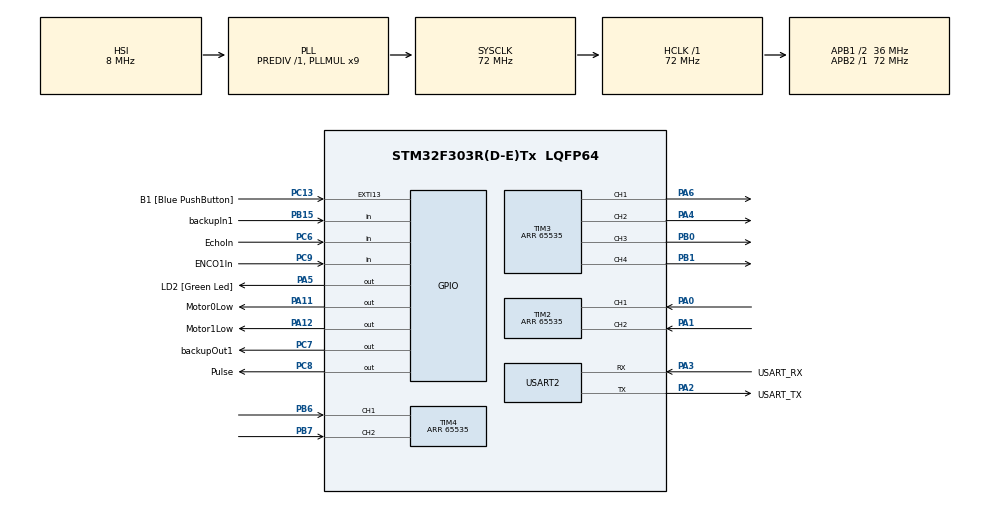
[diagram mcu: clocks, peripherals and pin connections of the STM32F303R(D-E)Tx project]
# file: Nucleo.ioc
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FREERTOS.Tasks01=defaultTask,0,128,StartDefaultTask,Default,NULL,Dynamic,NULL,NULL;motor0Task,-3,128,motor0Loop,Default,NULL,Dynamic,NULL,NULL;motor1Task,-3,128,motor1Loop,Default,NULL,Dynamic,NULL,NULL;controlTask,-3,128,controlLoop,Default,NULL,Dynamic,NULL,NULL;VzdTask,-3,128,VzdLoop,Default,NULL,Dynamic,NULL,NULL;backupTask1,-3,128,backupLoop1,Default,NULL,Dynamic,NULL,NULL;EncoTask,-3,128,EncoLoop,Default,NULL,Dynamic,NULL,NULL
FREERTOS.configTICK_RATE_HZ=100
FREERTOS.configTOTAL_HEAP_SIZE=6240
Mcu.Family=STM32F3
Mcu.Name=STM32F303R(D-E)Tx
Mcu.Package=LQFP64
NVIC.PriorityGroup=NVIC_PRIORITYGROUP_4
NVIC.TIM1_UP_TIM16_IRQn=true\:5\:0\:false\:false\:true\:true\:false\:true
NVIC.TimeBase=TIM1_UP_TIM16_IRQn
NVIC.TimeBaseIP=TIM1
PA0.GPIO_PuPd=GPIO_PULLUP
PA0.Signal=S_TIM2_CH1_ETR
PA1.GPIO_PuPd=GPIO_PULLUP
PA1.Signal=S_TIM2_CH2
PA11.GPIO_Label=Motor0Low
PA11.GPIO_PuPd=GPIO_PULLDOWN
PA11.GPIO_Speed=GPIO_SPEED_FREQ_HIGH
PA11.Signal=GPIO_Output
PA12.GPIO_Label=Motor1Low
PA12.GPIO_PuPd=GPIO_PULLDOWN
PA12.GPIO_Speed=GPIO_SPEED_FREQ_HIGH
PA12.PinState=GPIO_PIN_RESET
PA12.Signal=GPIO_Output
PA13.GPIO_Label=TMS
PA13.Mode=Serial_Wire
PA13.Signal=SYS_JTMS-SWDIO
PA14.GPIO_Label=TCK
PA14.Mode=Serial_Wire
PA14.Signal=SYS_JTCK-SWCLK
PA2.GPIO_Label=USART_TX
PA2.GPIO_Mode=GPIO_MODE_AF_PP
PA2.GPIO_PuPd=GPIO_NOPULL
PA2.GPIO_Speed=GPIO_SPEED_FREQ_LOW
PA2.Mode=Asynchronous
PA2.Signal=USART2_TX
PA3.GPIO_Label=USART_RX
PA3.GPIO_Mode=GPIO_MODE_AF_PP
PA3.GPIO_PuPd=GPIO_NOPULL
PA3.GPIO_Speed=GPIO_SPEED_FREQ_LOW
PA3.Mode=Asynchronous
PA3.Signal=USART2_RX
PA4.GPIO_Speed=GPIO_SPEED_FREQ_HIGH
PA4.Signal=S_TIM3_CH2
PA5.GPIO_Label=LD2 [Green Led]
PA5.GPIO_Mode=GPIO_MODE_OUTPUT_PP
PA5.GPIO_PuPd=GPIO_NOPULL
PA5.GPIO_Speed=GPIO_SPEED_FREQ_LOW
PA5.Signal=GPIO_Output
PA6.GPIO_Speed=GPIO_SPEED_FREQ_HIGH
PA6.Signal=S_TIM3_CH1
PB0.Signal=S_TIM3_CH3
PB1.Signal=S_TIM3_CH4
PB15.GPIO_Label=backupIn1
PB15.GPIO_PuPd=GPIO_PULLDOWN
PB15.Signal=GPIO_Input
PB3.GPIO_Label=SWO
PB3.Signal=SYS_JTDO-TRACESWO
PB6.GPIO_PuPd=GPIO_PULLUP
PB6.Signal=S_TIM4_CH1
PB7.GPIO_PuPd=GPIO_PULLUP
PB7.Signal=S_TIM4_CH2
PC13.GPIO_Label=B1 [Blue PushButton]
PC13.GPIO_ModeDefaultEXTI=GPIO_MODE_IT_FALLING
PC13.Signal=GPXTI13
PC14-OSC32_IN.Mode=LSE-External-Oscillator
PC14-OSC32_IN.Signal=RCC_OSC32_IN
PC15-OSC32_OUT.Mode=LSE-External-Oscillator
PC15-OSC32_OUT.Signal=RCC_OSC32_OUT
PC6.GPIO_Label=EchoIn
PC6.GPIO_PuPd=GPIO_PULLDOWN
PC6.Signal=GPIO_Input
PC7.GPIO_Label=backupOut1
PC7.GPIO_PuPd=GPIO_PULLDOWN
PC7.GPIO_Speed=GPIO_SPEED_FREQ_HIGH
PC7.Signal=GPIO_Output
PC8.GPIO_Label=Pulse
PC8.GPIO_PuPd=GPIO_PULLDOWN
PC8.GPIO_Speed=GPIO_SPEED_FREQ_HIGH
PC8.Signal=GPIO_Output
PC9.GPIO_Label=ENCO1In
PC9.GPIO_PuPd=GPIO_PULLDOWN
PC9.Signal=GPIO_Input
PF0-OSC_IN.Mode=HSE-External-Clock-Source
PF0-OSC_IN.Signal=RCC_OSC_IN
PF1-OSC_OUT.Signal=RCC_OSC_OUT
ProjectManager.HeapSize=0x200
ProjectManager.StackSize=0x400
ProjectManager.TargetToolchain=TrueSTUDIO
RCC.AHBFreq_Value=72000000
RCC.APB1CLKDivider=RCC_HCLK_DIV2
RCC.APB1Freq_Value=36000000
RCC.APB1TimFreq_Value=72000000
RCC.APB2Freq_Value=72000000
RCC.APB2TimFreq_Value=72000000
RCC.CortexFreq_Value=72000000
RCC.HCLKFreq_Value=72000000
RCC.HSE_VALUE=8000000
RCC.HSI_VALUE=8000000
RCC.PLLM=8
RCC.PLLMUL=RCC_PLL_MUL9
RCC.PLLN=336
RCC.PLLP=RCC_PLLP_DIV4
RCC.PLLQ=7
RCC.RCC_PLLsource_Clock_Source_FROM_HSE=RCC_HSE_PREDIV_DIV2
RCC.SYSCLKFreq_VALUE=72000000
RCC.SYSCLKSourceVirtual=RCC_SYSCLKSOURCE_PLLCLK
RCC.USBFreq_Value=72000000
SH.S_TIM2_CH1_ETR.0=TIM2_CH1,Encoder_Interface
SH.S_TIM2_CH2.0=TIM2_CH2,Encoder_Interface
SH.S_TIM3_CH1.0=TIM3_CH1,PWM Generation1 CH1
SH.S_TIM3_CH2.0=TIM3_CH2,PWM Generation2 CH2
SH.S_TIM3_CH3.0=TIM3_CH3,PWM Generation3 CH3
SH.S_TIM3_CH4.0=TIM3_CH4,PWM Generation4 CH4
SH.S_TIM4_CH1.0=TIM4_CH1,Encoder_Interface
SH.S_TIM4_CH2.0=TIM4_CH2,Encoder_Interface
TIM17.Period=65535
TIM17.Prescaler=72
TIM2.Period=65535
TIM3.Channel-PWM\ Generation1\ CH1=TIM_CHANNEL_1
TIM3.Channel-PWM\ Generation2\ CH2=TIM_CHANNEL_2
TIM3.Channel-PWM\ Generation3\ CH3=TIM_CHANNEL_3
TIM3.Channel-PWM\ Generation4\ CH4=TIM_CHANNEL_4
TIM3.Period=65535
TIM4.Period=65535
USART2.VirtualMode-Asynchronous=VM_ASYNC
VP_FREERTOS_VS_CMSIS_V1.Mode=CMSIS_V1
VP_SYS_VS_tim1.Mode=TIM1
VP_TIM17_VS_ClockSourceINT.Mode=Enable_Timer
board=NUCLEO-F303RE

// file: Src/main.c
/* USER CODE BEGIN Header */
/**
  ******************************************************************************
  * @file           : main.c
  * @brief          : Main program body
  ******************************************************************************
  * @attention
  *
  * <h2><center>&copy; Copyright (c) 2019 STMicroelectronics.
  * All rights reserved.</center></h2>
  *
  * This software component is licensed by ST under BSD 3-Clause license,
  * the "License"; You may not use this file except in compliance with the
  * License. You may obtain a copy of the License at:
  *                        opensource.org/licenses/BSD-3-Clause
  *
  ******************************************************************************
  */
/* USER CODE END Header */

#include "main.h"
#include "cmsis_os.h"

/* USER CODE BEGIN Includes */
unsigned long long int getDistance();
unsigned long long int measureObjectSize();
/* USER CODE END Includes */

TIM_HandleTypeDef htim2;
TIM_HandleTypeDef htim3;
TIM_HandleTypeDef htim4;
TIM_HandleTypeDef htim17;

UART_HandleTypeDef huart2;

osThreadId defaultTaskHandle;
osThreadId motor0TaskHandle;
osThreadId motor1TaskHandle;
osThreadId controlTaskHandle;
osThreadId VzdTaskHandle;
osThreadId backupTask1Handle;
osThreadId EncoTaskHandle;

void SystemClock_Config(void);
static void MX_GPIO_Init(void);
static void MX_USART2_UART_Init(void);
static void MX_TIM3_Init(void);
static void MX_TIM17_Init(void);
static void MX_TIM2_Init(void);
static void MX_TIM4_Init(void);
void StartDefaultTask(void const * argument);
void motor0Loop(void const * argument);
void motor1Loop(void const * argument);
void controlLoop(void const * argument);
void VzdLoop(void const * argument);
void backupLoop1(void const * argument);
void EncoLoop(void const * argument);

int main(void)
{

  /* MCU Configuration--------------------------------------------------------*/

  /* Reset of all peripherals, Initializes the Flash interface and the Systick. */
  HAL_Init();

  /* Configure the system clock */
  SystemClock_Config();

  /* Initialize all configured peripherals */
  MX_GPIO_Init();
  MX_USART2_UART_Init();
  MX_TIM3_Init();
  MX_TIM17_Init();
  MX_TIM2_Init();
  MX_TIM4_Init();

  /* Create the thread(s) */
  /* definition and creation of defaultTask */
  osThreadDef(defaultTask, StartDefaultTask, osPriorityNormal, 0, 128);
  defaultTaskHandle = osThreadCreate(osThread(defaultTask), NULL);

  /* definition and creation of motor0Task */
  osThreadDef(motor0Task, motor0Loop, osPriorityIdle, 0, 128);
  motor0TaskHandle = osThreadCreate(osThread(motor0Task), NULL);

  /* definition and creation of motor1Task */
  osThreadDef(motor1Task, motor1Loop, osPriorityIdle, 0, 128);
  motor1TaskHandle = osThreadCreate(osThread(motor1Task), NULL);

  /* definition and creation of controlTask */
  osThreadDef(controlTask, controlLoop, osPriorityIdle, 0, 128);
  controlTaskHandle = osThreadCreate(osThread(controlTask), NULL);

  /* definition and creation of VzdTask */
  osThreadDef(VzdTask, VzdLoop, osPriorityIdle, 0, 128);
  VzdTaskHandle = osThreadCreate(osThread(VzdTask), NULL);

  /* definition and creation of backupTask1 */
  osThreadDef(backupTask1, backupLoop1, osPriorityIdle, 0, 128);
  backupTask1Handle = osThreadCreate(osThread(backupTask1), NULL);

  /* definition and creation of EncoTask */
  osThreadDef(EncoTask, EncoLoop, osPriorityIdle, 0, 128);
  EncoTaskHandle = osThreadCreate(osThread(EncoTask), NULL);

  /* Start scheduler */
  osKernelStart();

  /* We should never get here as control is now taken by the scheduler */

  /* Infinite loop */
  while (1)
  {

  }
}

void SystemClock_Config(void)
{
  RCC_OscInitTypeDef RCC_OscInitStruct = {0};
  RCC_ClkInitTypeDef RCC_ClkInitStruct = {0};
  RCC_PeriphCLKInitTypeDef PeriphClkInit = {0};

  /** Initializes the CPU, AHB and APB busses clocks
  */
  RCC_OscInitStruct.OscillatorType = RCC_OSCILLATORTYPE_HSI;
  RCC_OscInitStruct.HSIState = RCC_HSI_ON;
  RCC_OscInitStruct.HSICalibrationValue = RCC_HSICALIBRATION_DEFAULT;
  RCC_OscInitStruct.PLL.PLLState = RCC_PLL_ON;
  RCC_OscInitStruct.PLL.PLLSource = RCC_PLLSOURCE_HSI;
  RCC_OscInitStruct.PLL.PLLMUL = RCC_PLL_MUL9;
  RCC_OscInitStruct.PLL.PREDIV = RCC_PREDIV_DIV1;
  if (HAL_RCC_OscConfig(&RCC_OscInitStruct) != HAL_OK)
  {
    Error_Handler();
  }
  /** Initializes the CPU, AHB and APB busses clocks
  */
  RCC_ClkInitStruct.ClockType = RCC_CLOCKTYPE_HCLK|RCC_CLOCKTYPE_SYSCLK
                              |RCC_CLOCKTYPE_PCLK1|RCC_CLOCKTYPE_PCLK2;
  RCC_ClkInitStruct.SYSCLKSource = RCC_SYSCLKSOURCE_PLLCLK;
  RCC_ClkInitStruct.AHBCLKDivider = RCC_SYSCLK_DIV1;
  RCC_ClkInitStruct.APB1CLKDivider = RCC_HCLK_DIV2;
  RCC_ClkInitStruct.APB2CLKDivider = RCC_HCLK_DIV1;

  if (HAL_RCC_ClockConfig(&RCC_ClkInitStruct, FLASH_LATENCY_2) != HAL_OK)
  {
    Error_Handler();
  }
  PeriphClkInit.PeriphClockSelection = RCC_PERIPHCLK_USART2|RCC_PERIPHCLK_TIM17
                              |RCC_PERIPHCLK_TIM2|RCC_PERIPHCLK_TIM34;
  PeriphClkInit.Usart2ClockSelection = RCC_USART2CLKSOURCE_PCLK1;
  PeriphClkInit.Tim17ClockSelection = RCC_TIM17CLK_HCLK;
  PeriphClkInit.Tim2ClockSelection = RCC_TIM2CLK_HCLK;
  PeriphClkInit.Tim34ClockSelection = RCC_TIM34CLK_HCLK;
  if (HAL_RCCEx_PeriphCLKConfig(&PeriphClkInit) != HAL_OK)
  {
    Error_Handler();
  }
}

static void MX_TIM2_Init(void)
{

  TIM_Encoder_InitTypeDef sConfig = {0};
  TIM_MasterConfigTypeDef sMasterConfig = {0};

  htim2.Instance = TIM2;
  htim2.Init.Prescaler = 0;
  htim2.Init.CounterMode = TIM_COUNTERMODE_UP;
  htim2.Init.Period = 65535;
  htim2.Init.ClockDivision = TIM_CLOCKDIVISION_DIV1;
  htim2.Init.AutoReloadPreload = TIM_AUTORELOAD_PRELOAD_DISABLE;
  sConfig.EncoderMode = TIM_ENCODERMODE_TI1;
  sConfig.IC1Polarity = TIM_ICPOLARITY_RISING;
  sConfig.IC1Selection = TIM_ICSELECTION_DIRECTTI;
  sConfig.IC1Prescaler = TIM_ICPSC_DIV1;
  sConfig.IC1Filter = 0;
  sConfig.IC2Polarity = TIM_ICPOLARITY_RISING;
  sConfig.IC2Selection = TIM_ICSELECTION_DIRECTTI;
  sConfig.IC2Prescaler = TIM_ICPSC_DIV1;
  sConfig.IC2Filter = 0;
  if (HAL_TIM_Encoder_Init(&htim2, &sConfig) != HAL_OK)
  {
    Error_Handler();
  }
  sMasterConfig.MasterOutputTrigger = TIM_TRGO_RESET;
  sMasterConfig.MasterSlaveMode = TIM_MASTERSLAVEMODE_DISABLE;

  if (HAL_TIMEx_MasterConfigSynchronization(&htim2, &sMasterConfig) != HAL_OK)
  {
    Error_Handler();
  }

}

static void MX_TIM3_Init(void)
{

  TIM_MasterConfigTypeDef sMasterConfig = {0};
  TIM_OC_InitTypeDef sConfigOC = {0};

  htim3.Instance = TIM3;
  htim3.Init.Prescaler = 0;
  htim3.Init.CounterMode = TIM_COUNTERMODE_UP;
  htim3.Init.Period = 65535;
  htim3.Init.ClockDivision = TIM_CLOCKDIVISION_DIV1;
  htim3.Init.AutoReloadPreload = TIM_AUTORELOAD_PRELOAD_DISABLE;
  if (HAL_TIM_PWM_Init(&htim3) != HAL_OK)
  {
    Error_Handler();
  }
  sMasterConfig.MasterOutputTrigger = TIM_TRGO_RESET;
  sMasterConfig.MasterSlaveMode = TIM_MASTERSLAVEMODE_DISABLE;
  if (HAL_TIMEx_MasterConfigSynchronization(&htim3, &sMasterConfig) != HAL_OK)
  {
    Error_Handler();
  }
  sConfigOC.OCMode = TIM_OCMODE_PWM1;
  sConfigOC.Pulse = 0;
  sConfigOC.OCPolarity = TIM_OCPOLARITY_HIGH;
  sConfigOC.OCFastMode = TIM_OCFAST_DISABLE;
  if (HAL_TIM_PWM_ConfigChannel(&htim3, &sConfigOC, TIM_CHANNEL_1) != HAL_OK)
  {
    Error_Handler();
  }
  if (HAL_TIM_PWM_ConfigChannel(&htim3, &sConfigOC, TIM_CHANNEL_2) != HAL_OK)
  {
    Error_Handler();
  }
  if (HAL_TIM_PWM_ConfigChannel(&htim3, &sConfigOC, TIM_CHANNEL_3) != HAL_OK)
  {
    Error_Handler();
  }
  if (HAL_TIM_PWM_ConfigChannel(&htim3, &sConfigOC, TIM_CHANNEL_4) != HAL_OK)
  {
    Error_Handler();
  }
  HAL_TIM_MspPostInit(&htim3);

}

static void MX_TIM4_Init(void)
{

  TIM_Encoder_InitTypeDef sConfig = {0};
  TIM_MasterConfigTypeDef sMasterConfig = {0};

  htim4.Instance = TIM4;
  htim4.Init.Prescaler = 0;
  htim4.Init.CounterMode = TIM_COUNTERMODE_UP;
  htim4.Init.Period = 65535;
  htim4.Init.ClockDivision = TIM_CLOCKDIVISION_DIV1;
  htim4.Init.AutoReloadPreload = TIM_AUTORELOAD_PRELOAD_DISABLE;
  sConfig.EncoderMode = TIM_ENCODERMODE_TI1;
  sConfig.IC1Polarity = TIM_ICPOLARITY_RISING;
  sConfig.IC1Selection = TIM_ICSELECTION_DIRECTTI;
  sConfig.IC1Prescaler = TIM_ICPSC_DIV1;
  sConfig.IC1Filter = 0;
  sConfig.IC2Polarity = TIM_ICPOLARITY_RISING;
  sConfig.IC2Selection = TIM_ICSELECTION_DIRECTTI;
  sConfig.IC2Prescaler = TIM_ICPSC_DIV1;
  sConfig.IC2Filter = 0;
  if (HAL_TIM_Encoder_Init(&htim4, &sConfig) != HAL_OK)
  {
    Error_Handler();
  }
  sMasterConfig.MasterOutputTrigger = TIM_TRGO_RESET;
  sMasterConfig.MasterSlaveMode = TIM_MASTERSLAVEMODE_DISABLE;
  if (HAL_TIMEx_MasterConfigSynchronization(&htim4, &sMasterConfig) != HAL_OK)
  {
    Error_Handler();
  }

}

static void MX_TIM17_Init(void)
{

  htim17.Instance = TIM17;
  htim17.Init.Prescaler = 72;
  htim17.Init.CounterMode = TIM_COUNTERMODE_UP;
  htim17.Init.Period = 65535;
  htim17.Init.ClockDivision = TIM_CLOCKDIVISION_DIV1;
  htim17.Init.RepetitionCounter = 0;
  htim17.Init.AutoReloadPreload = TIM_AUTORELOAD_PRELOAD_DISABLE;
  if (HAL_TIM_Base_Init(&htim17) != HAL_OK)
  {
    Error_Handler();
  }

}

static void MX_USART2_UART_Init(void)
{

  huart2.Instance = USART2;
  huart2.Init.BaudRate = 38400;
  huart2.Init.WordLength = UART_WORDLENGTH_8B;
  huart2.Init.StopBits = UART_STOPBITS_1;
  huart2.Init.Parity = UART_PARITY_NONE;
  huart2.Init.Mode = UART_MODE_TX_RX;
  huart2.Init.HwFlowCtl = UART_HWCONTROL_NONE;
  huart2.Init.OverSampling = UART_OVERSAMPLING_16;
  huart2.Init.OneBitSampling = UART_ONE_BIT_SAMPLE_DISABLE;
  huart2.AdvancedInit.AdvFeatureInit = UART_ADVFEATURE_NO_INIT;
  if (HAL_UART_Init(&huart2) != HAL_OK)
  {
    Error_Handler();
  }

}

static void MX_GPIO_Init(void)
{
  GPIO_InitTypeDef GPIO_InitStruct = {0};

  /* GPIO Ports Clock Enable */
  __HAL_RCC_GPIOC_CLK_ENABLE();
  __HAL_RCC_GPIOF_CLK_ENABLE();
  __HAL_RCC_GPIOA_CLK_ENABLE();
  __HAL_RCC_GPIOB_CLK_ENABLE();

  /*Configure GPIO pin Output Level */
  HAL_GPIO_WritePin(GPIOA, LD2_Pin|Motor0Low_Pin|Motor1Low_Pin, GPIO_PIN_RESET);

  /*Configure GPIO pin Output Level */
  HAL_GPIO_WritePin(GPIOC, backupOut1_Pin|Pulse_Pin, GPIO_PIN_RESET);

  /*Configure GPIO pin : B1_Pin */
  GPIO_InitStruct.Pin = B1_Pin;
  GPIO_InitStruct.Mode = GPIO_MODE_IT_FALLING;
  GPIO_InitStruct.Pull = GPIO_NOPULL;
  HAL_GPIO_Init(B1_GPIO_Port, &GPIO_InitStruct);

  /*Configure GPIO pin : LD2_Pin */
  GPIO_InitStruct.Pin = LD2_Pin;
  GPIO_InitStruct.Mode = GPIO_MODE_OUTPUT_PP;
  GPIO_InitStruct.Pull = GPIO_NOPULL;
  GPIO_InitStruct.Speed = GPIO_SPEED_FREQ_LOW;
  HAL_GPIO_Init(LD2_GPIO_Port, &GPIO_InitStruct);

  /*Configure GPIO pin : backupIn1_Pin */
  GPIO_InitStruct.Pin = backupIn1_Pin;
  GPIO_InitStruct.Mode = GPIO_MODE_INPUT;
  GPIO_InitStruct.Pull = GPIO_PULLDOWN;
  HAL_GPIO_Init(backupIn1_GPIO_Port, &GPIO_InitStruct);

  /*Configure GPIO pins : EchoIn_Pin ENCO1In_Pin */
  GPIO_InitStruct.Pin = EchoIn_Pin|ENCO1In_Pin;
  GPIO_InitStruct.Mode = GPIO_MODE_INPUT;
  GPIO_InitStruct.Pull = GPIO_PULLDOWN;
  HAL_GPIO_Init(GPIOC, &GPIO_InitStruct);

  /*Configure GPIO pins : backupOut1_Pin Pulse_Pin */
  GPIO_InitStruct.Pin = backupOut1_Pin|Pulse_Pin;
  GPIO_InitStruct.Mode = GPIO_MODE_OUTPUT_PP;
  GPIO_InitStruct.Pull = GPIO_PULLDOWN;
  GPIO_InitStruct.Speed = GPIO_SPEED_FREQ_HIGH;
  HAL_GPIO_Init(GPIOC, &GPIO_InitStruct);

  /*Configure GPIO pins : Motor0Low_Pin Motor1Low_Pin */
  GPIO_InitStruct.Pin = Motor0Low_Pin|Motor1Low_Pin;
  GPIO_InitStruct.Mode = GPIO_MODE_OUTPUT_PP;
  GPIO_InitStruct.Pull = GPIO_PULLDOWN;
  GPIO_InitStruct.Speed = GPIO_SPEED_FREQ_HIGH;
  HAL_GPIO_Init(GPIOA, &GPIO_InitStruct);

}

void StartDefaultTask(void const * argument)
{

  for(;;)
  {
    osDelay(1);
  }
}

void modifyTimer0PWM(uint16_t value){
	TIM_OC_InitTypeDef sConfigOC;

	sConfigOC.OCMode = TIM_OCMODE_PWM1;
	sConfigOC.Pulse = value;
	sConfigOC.OCPolarity = TIM_OCPOLARITY_HIGH;
	sConfigOC.OCFastMode = TIM_OCFAST_DISABLE;
	HAL_TIM_PWM_ConfigChannel(&htim3, &sConfigOC, TIM_CHANNEL_1);
	HAL_TIM_PWM_Start(&htim3, TIM_CHANNEL_1);
}

void modifyTimer1PWM(uint16_t value){
	TIM_OC_InitTypeDef sConfigOC;

	sConfigOC.OCMode = TIM_OCMODE_PWM1;
	sConfigOC.Pulse = value;
	sConfigOC.OCPolarity = TIM_OCPOLARITY_HIGH;
	sConfigOC.OCFastMode = TIM_OCFAST_DISABLE;
	HAL_TIM_PWM_ConfigChannel(&htim3, &sConfigOC, TIM_CHANNEL_2);
	HAL_TIM_PWM_Start(&htim3, TIM_CHANNEL_2);
}

void modifyTimer2PWM(uint16_t value){
	TIM_OC_InitTypeDef sConfigOC;

	sConfigOC.OCMode = TIM_OCMODE_PWM1;
	sConfigOC.Pulse = value;
	sConfigOC.OCPolarity = TIM_OCPOLARITY_HIGH;
	sConfigOC.OCFastMode = TIM_OCFAST_DISABLE;
	HAL_TIM_PWM_ConfigChannel(&htim3, &sConfigOC, TIM_CHANNEL_3);
	HAL_TIM_PWM_Start(&htim3, TIM_CHANNEL_3);
}

void modifyTimer3PWM(uint16_t value){
	TIM_OC_InitTypeDef sConfigOC;

	sConfigOC.OCMode = TIM_OCMODE_PWM1;
	sConfigOC.Pulse = value;
	sConfigOC.OCPolarity = TIM_OCPOLARITY_HIGH;
	sConfigOC.OCFastMode = TIM_OCFAST_DISABLE;
	HAL_TIM_PWM_ConfigChannel(&htim3, &sConfigOC, TIM_CHANNEL_4);
	HAL_TIM_PWM_Start(&htim3, TIM_CHANNEL_4);
}

extern enum State{On,Off};
extern enum Dir{Forw,Backw};

extern enum State m1State = Off;
extern enum State m2State = Off;

extern enum Dir m1Dir = Forw;
extern enum Dir m2Dir = Forw;

extern int16_t m1Speed = 400;
int16_t lastM1Speed = 0;

extern int16_t m2Speed = 400;
int16_t lastM2Speed = 0;

void motor0Loop(void const * argument)
{
  /* USER CODE BEGIN motor0Loop */
  /* Infinite loop */
//  m1State = On;
//  m1State = 300;

  for(;;)
  {

	  if(m1State == On){
			if(m1Dir == Forw){
			  modifyTimer0PWM(m1Speed * 65);
			  lastM1Speed = m1Speed;
			  modifyTimer1PWM(0);
			}
			else{
			  modifyTimer1PWM(m1Speed * 65);
			  lastM1Speed = m1Speed;
			  modifyTimer0PWM(0);
			}
	  } else {
		  modifyTimer1PWM(0);
		  modifyTimer0PWM(0);
	  }
	  osDelay(1);
  }
  /* USER CODE END motor0Loop */
}

void motor1Loop(void const * argument)
{
  /* USER CODE BEGIN motor1Loop */
  /* Infinite loop */

  for(;;)
  {
	  if(m2State == On){
			if(m2Dir == Forw){
			  modifyTimer2PWM(m2Speed * 65);
			  lastM2Speed = m2Speed;
			  modifyTimer3PWM(0);
			}
			else{
			  modifyTimer3PWM(m2Speed * 65);
			  lastM2Speed = m2Speed;
			  modifyTimer2PWM(0);
			}
	  } else {
		  modifyTimer3PWM(0);
		  modifyTimer2PWM(0);
	  }
	  osDelay(1);
  }
}

//
//
//		  if(m2Speed>MAX_SPEED || m2Speed<0){
//			  HAL_GPIO_WritePin(ERROR_LED_PORT,ERROR_LED_PIN,GPIO_PIN_SET);
//			  errorMot = true;
//		  }
//		  else{
//			  HAL_GPIO_WritePin(PWMB_PORT,PWMB_PIN,GPIO_PIN_SET);
//			  setCorrectDirM2();
//			  osDelay(m2Speed);
//			  resetDirM2();
//			  HAL_GPIO_WritePin(PWMB_PORT,PWMB_PIN,GPIO_PIN_RESET);
//			  osDelay(MAX_SPEED-m2Speed);
//		  }
  /* USER CODE END motor1Loop */

unsigned volatile long long int pulseDuration = 0;
const int bottleSize = 15;
const int maxDistance = 150;
unsigned long long int moveTime;
unsigned long long int distance;

void MakeStepForw(void){
	m1Speed = 500;
	m2Speed = 500;
	m1Dir = Forw;
	m2Dir = Forw;
	m1State = On;
	m2State = On;
}

void MakeStepBackw(void){
	m1Speed = 500;
	m2Speed = 535;
	m1Dir = Backw;
	m2Dir = Backw;
	m1State = On;
	m2State = On;
}

void stopMot(void){
	m1State = Off;
	m2State = Off;
	}
void make720(void){
	m1Speed = 1000;
	m2Speed = 1000;
	m1Dir = Forw;
	m2Dir = Backw;
	m1State = On;
	m2State = On;
	}

void turnABit(void){
	m1Speed = 500;
	m2Speed = 500;
	m1Dir = Forw;
	m2Dir = Backw;
	m1State = On;
	m2State = On;
	}

#define TRACKSIZE  400
#define FILTER		 2

void controlLoop(void const * argument)

{
	osDelay(100);
	m1State = Off;
	m2State = Off;
//	distance = pulseDuration * 100 / 17150;;
	uint16_t i = 0;
	uint16_t stepCounter = 0;
	uint16_t filterCounter = 0;
	  for(;;) {
		  for(i = 0;i <TRACKSIZE;i++){
			  MakeStepForw();
			  osDelay(1);
			  stopMot();
			  stepCounter++;
			  if(pulseDuration < 900){
				  filterCounter++;
			  	  }
			  if (filterCounter == FILTER){
				  make720();
				  osDelay(2823);
				  stopMot();
				  filterCounter = 0;
				  break;
			  	  }

			  	  }
		  osDelay(100);

		  filterCounter = 0;

		  osDelay(100);
		  for(i = 0;i <stepCounter;i++){

			  	  MakeStepBackw();
			  	  osDelay(1);
			  	  stopMot();
			  	  }
		  stepCounter = 0;
		  osDelay(5);
		  turnABit();
		  osDelay(150);
	  	  stopMot();
		  }
	  }
//		  while (distance > maxDistance) {
//			  makeTurnRight();
//			  distance = pulseDuration * 100 / 17150;;
//			  osDelay(5);
//
//		  }
//
//		  while (distance < 100) {
//			  goAhead();
//			  distance = pulseDuration * 100 / 17150;;
//			  osDelay(5);
//
//		  }
//
//		  unsigned long long int size = measureObjectSize();
//
//		  if (size < bottleSize + 10) {
//			  makeDoubleTurn();
//		  } else {
//			  while (moveTime > 0) {
//				  goBack();
//			  }
//		  }
//
//		  makeTurnRight();

unsigned long long int getDistance() {
	return pulseDuration * 100 / 17150;
}

void goAhead() {
	m1State = On;
	m2State = On;
	m1Dir = Forw;
	m2Dir = Forw;
	m1Speed = 400;
	m2Speed = 400;
	moveTime++;
}

void goBack() {
	m1State = On;
	m2State = On;
	m1Dir = Backw;
	m1Speed = 400;
	m2Dir = Backw;
	m2Speed = 400;
	moveTime--;
}

void makeTurnRight() {
	m1State = On;
	m2State = On;
	m1Dir = Backw;
	m1Speed = 400;
	m2Dir = Forw;
	m2Speed = 400;
}

unsigned long long int measureObjectSize() {
	unsigned long long int time = 0;
	unsigned long long int distance = pulseDuration * 100 / 17150;;
	while (distance < maxDistance) {
		makeTurnRight();
		distance = pulseDuration * 100 / 17150;;
		time++;
	}

	return time;
}

void makeDoubleTurn() {
	int counter = 0;
}
void sendPulse(void){
  	TIM17->CNT = 0;
   HAL_GPIO_WritePin(GPIOC, GPIO_PIN_8, GPIO_PIN_SET);
	HAL_TIM_Base_Start(&htim17);
	while((TIM17->CNT<50));
  	HAL_TIM_Base_Stop(&htim17);
   HAL_GPIO_WritePin(GPIOC, GPIO_PIN_8, GPIO_PIN_RESET);
  	TIM17->CNT = 0;
	}
// && ((TIM17->CNT)<9000)

void VzdLoop(void const * argument)
{
  /* USER CODE BEGIN VzdLoop */
  /* Infinite loop */
  for(;;)
  {
	  sendPulse();
  	  TIM17->CNT = 0;
  	  while(!HAL_GPIO_ReadPin(GPIOC,GPIO_PIN_6)); //wait for pulse
	  HAL_TIM_Base_Start(&htim17);
  	  while(HAL_GPIO_ReadPin(GPIOC,GPIO_PIN_6)); //wait for pulse
  	  HAL_TIM_Base_Stop(&htim17);
  	  pulseDuration = TIM17->CNT;

  	  TIM17->CNT = 0;
	  osDelay(1);
//  uint16_t elTime = __HAL_TIM_GetCounter(&htim17);
  }
  /* USER CODE END VzdLoop */
}

void backupLoop1(void const * argument)
{
  for(;;)
  {
    osDelay(1);
  }
}

uint32_t encVal0 = 0;
uint32_t encVal1 = 0;

void EncoLoop(void const * argument)
{
  /* USER CODE BEGIN EncoLoop */
  /* Infinite loop */
  for(;;)
  {
	  encVal0 = TIM2->CNT;

	  encVal1 = TIM4->CNT;

    osDelay(1);
  }
  /* USER CODE END EncoLoop */
}

void HAL_TIM_PeriodElapsedCallback(TIM_HandleTypeDef *htim)
{
  if (htim->Instance == TIM1) {
    HAL_IncTick();
  }
}

void Error_Handler(void)
{
}

/************************ (C) COPYRIGHT STMicroelectronics *****END OF FILE****/
